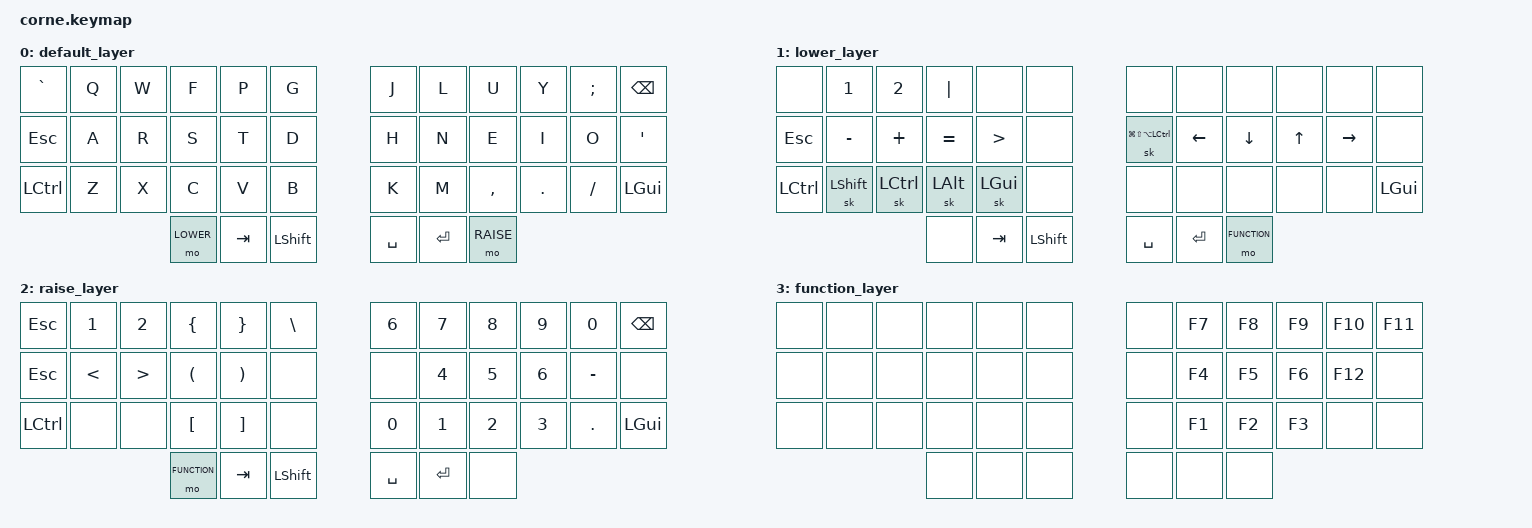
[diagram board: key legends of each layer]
/*
 * Copyright (c) 2020 The ZMK Contributors
 *
 * SPDX-License-Identifier: MIT
 */

#include <behaviors.dtsi>
#include <dt-bindings/zmk/keys.h>
#include <dt-bindings/zmk/bt.h>

#define DEFAULT 0
#define LOWER 1
#define RAISE 2
#define FUNCTION 3

&sk {
    release-after-ms = <2000>;
};

/ {
        keymap {
                compatible = "zmk,keymap";
                default_layer {
// -----------------------------------------------------------------------------------------
                        bindings = <
   &kp GRAVE &kp Q   &kp W     &kp F     &kp P     &kp G &kp J &kp L &kp U     &kp Y   &kp SEMI &kp BSPC
   &kp ESC   &kp A   &kp R     &kp S     &kp T     &kp D &kp H &kp N &kp E     &kp I   &kp O    &kp SQT
   &kp LCTRL &kp Z   &kp X     &kp C     &kp V     &kp B &kp K &kp M &kp COMMA &kp DOT &kp FSLH &kp LGUI
                     &mo LOWER &kp TAB &kp LSHFT &kp SPACE &kp ENTER &mo RAISE
                        >;
                };
                lower_layer {
// -----------------------------------------------------------------------------------------
                        bindings = <
   &none      &kp  N1   &kp  N2   &kp  PIPE &none     &none &none                 &none     &none     &none    &none     &none
   &kp   ESC  &kp MINUS &kp PLUS  &kp EQUAL &kp  GT   &none &sk LG(LS(LA(LCTRL))) &kp  LEFT &kp  DOWN &kp   UP &kp RIGHT &none
   &kp  LCTRL &sk LSHFT &sk LCTRL &sk LALT  &sk LGUI  &none &none                 &none     &none     &none    &none     &kp  LGUI
                                 &none      &kp TAB   &kp LSHFT &kp SPACE &kp ENTER &mo FUNCTION
                        >;

                };

                raise_layer {
// -----------------------------------------------------------------------------------------
                        bindings = <
   &kp  ESC     &kp     N1 &kp  N2   &kp  LBRC &kp    RBRC &kp BACKSLASH &kp N6    &kp N7    &kp N8  &kp  N9 &kp   N0  &kp BSPC
   &kp  ESC     &kp     LT &kp  GT   &kp LPAR  &kp   RPAR  &none           &none     &kp  N4   &kp  N5 &kp  N6 &kp MINUS &none
   &kp LCTRL    &none      &none     &kp LBKT  &kp RBKT    &none           &kp    N0 &kp    N1 &kp  N2 &kp  N3 &kp DOT   &kp   LGUI
                              &mo FUNCTION &kp    TAB &kp LSHFT &kp SPACE &kp   ENTER &none
                        >;

                };
                function_layer {
// -----------------------------------------------------------------------------------------
                        bindings = <
   &none &none &none &none &none &none &none &kp F7 &kp F8 &kp F9 &kp F10 &kp F11
   &none &none &none &none &none &none &none &kp F4 &kp F5 &kp F6 &kp F12 &none
   &none &none &none &none &none &none &none &kp F1 &kp F2 &kp F3 &none   &none
                     &none &none &none &none &none &none
                        >;

                };
        };
};
